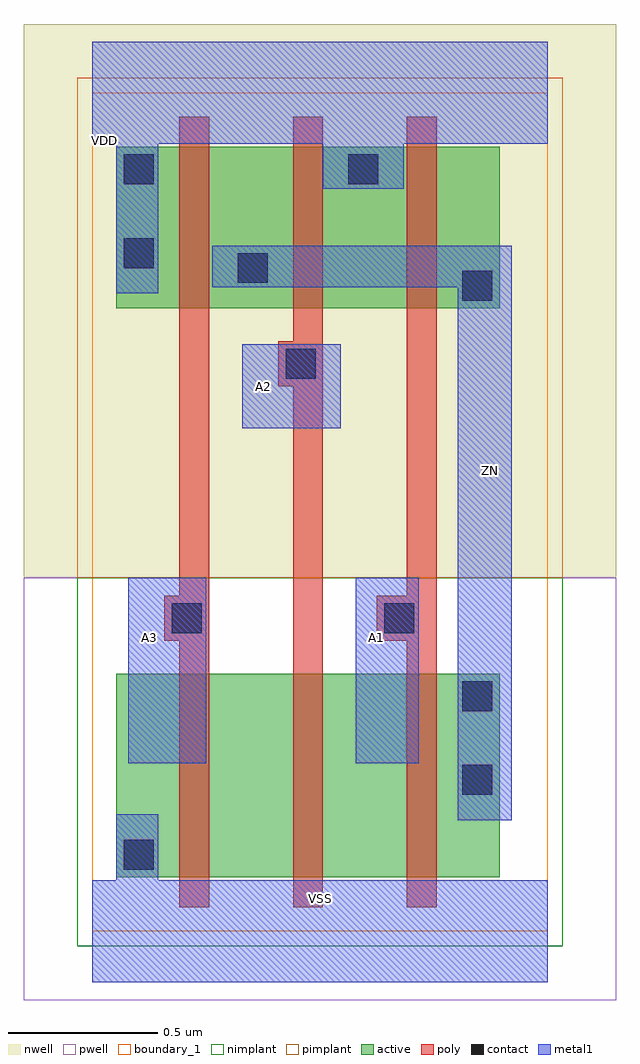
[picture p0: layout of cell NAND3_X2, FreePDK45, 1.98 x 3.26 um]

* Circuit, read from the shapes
.subckt NAND3_X2 A1 A2 A3 VDD VSS ZN
M1 n1 A3 VSS VSUBS nfet w=0.68u l=0.1u
M2 n2 A2 n1 VSUBS nfet w=0.68u l=0.1u
M3 ZN A1 n2 VSUBS nfet w=0.68u l=0.1u
M4 ZN A3 VDD n3 pfet w=0.54u l=0.1u
M5 VDD A2 ZN n3 pfet w=0.54u l=0.1u
M6 ZN A1 VDD n3 pfet w=0.54u l=0.1u
.ends

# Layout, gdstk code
import gdstk
lib = gdstk.Library(unit=1e-6, precision=1e-09)
def R(c, l, rs):  # rectangles x0, y0, x1, y1
    for r in rs: c.add(gdstk.rectangle(r[:2], r[2:], *l))
def P(c, l, *ps):  # polygons
    for p in ps: c.add(gdstk.Polygon(p, *l))
active = (1, 0)
pwell = (2, 0)
nwell = (3, 0)
nimplant = (4, 0)
pimplant = (5, 0)
poly = (9, 0)
contact = (10, 0)
metal1 = (11, 0)
boundary_1 = (235, 1)

nand3_x2 = lib.new_cell('NAND3_X2')
R(nand3_x2, active, [(0.08,0.18,1.36,0.86), (0.08,2.08,1.36,2.62)])
R(nand3_x2, pwell, [(-0.23,-0.23,1.75,1.18)])
R(nand3_x2, nwell, [(-0.23,1.18,1.75,3.03)])
R(nand3_x2, nimplant, [(-0.05,-0.05,1.57,1.18)])
R(nand3_x2, pimplant, [(-0.05,1.18,1.57,2.85)])
P(nand3_x2, poly, [(0.95,0.97),(1.05,0.97),(1.05,0.08),(1.15,0.08),(1.15,2.72),(1.05,2.72),(1.05,1.12),(0.95,1.12)],
  [(0.62,1.82),(0.67,1.82),(0.67,0.08),(0.77,0.08),(0.77,2.72),(0.67,2.72),(0.67,1.97),(0.62,1.97)],
  [(0.24,0.97),(0.29,0.97),(0.29,0.08),(0.39,0.08),(0.39,2.72),(0.29,2.72),(0.29,1.12),(0.24,1.12)])
R(nand3_x2, contact, [(0.105,0.205,0.205,0.305), (1.235,0.455,1.335,0.555), (1.235,0.735,1.335,0.835), (0.265,0.995,0.365,1.095), (0.975,0.995,1.075,1.095), (0.645,1.845,0.745,1.945), (1.235,2.105,1.335,2.205), (0.485,2.165,0.585,2.265), (0.105,2.215,0.205,2.315), (0.105,2.495,0.205,2.595), (0.855,2.495,0.955,2.595)])
R(nand3_x2, metal1, [(0.12,0.56,0.38,1.18), (0.12,0.56,0.38,1.18), (0.88,0.56,1.09,1.18), (0.88,0.56,1.09,1.18), (0.5,1.68,0.83,1.96), (0.5,1.68,0.83,1.96)])
P(nand3_x2, metal1, [(0.4,2.15),(1.22,2.15),(1.22,0.37),(1.4,0.37),(1.4,2.29),(0.4,2.29)],
  [(0,-0.17),(1.52,-0.17),(1.52,0.17),(0.22,0.17),(0.22,0.39),(0.08,0.39),(0.08,0.17),(0,0.17)],
  [(0,2.63),(0.08,2.63),(0.08,2.13),(0.22,2.13),(0.22,2.63),(0.77,2.63),(0.77,2.48),(1.04,2.48),(1.04,2.63),(1.52,2.63),(1.52,2.97),(0,2.97)],
  [(0,2.63),(0.08,2.63),(0.08,2.13),(0.22,2.13),(0.22,2.63),(0.77,2.63),(0.77,2.48),(1.04,2.48),(1.04,2.63),(1.52,2.63),(1.52,2.97),(0,2.97)],
  [(0,-0.17),(1.52,-0.17),(1.52,0.17),(0.22,0.17),(0.22,0.39),(0.08,0.39),(0.08,0.17),(0,0.17)],
  [(0.4,2.15),(1.22,2.15),(1.22,0.37),(1.4,0.37),(1.4,2.29),(0.4,2.29)])
R(nand3_x2, boundary_1, [(0,0,1.52,2.8)])
nand3_x2.add(gdstk.Label('ZN', (1.33,1.54), layer=11, texttype=0))
nand3_x2.add(gdstk.Label('VSS', (0.76,0.11), layer=11, texttype=0))
nand3_x2.add(gdstk.Label('VDD', (0.04,2.64), layer=11, texttype=0))
nand3_x2.add(gdstk.Label('A3', (0.19,0.98), layer=11, texttype=0))
nand3_x2.add(gdstk.Label('A2', (0.57,1.82), layer=11, texttype=0))
nand3_x2.add(gdstk.Label('A1', (0.95,0.98), layer=11, texttype=0))

lib.write_gds('NAND3_X2.gds')
